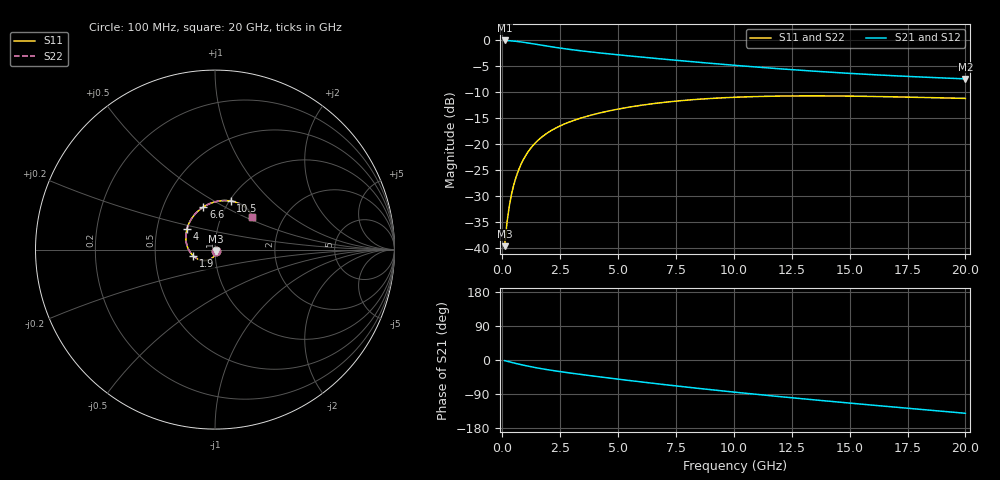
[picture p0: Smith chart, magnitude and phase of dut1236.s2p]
! Touchstone file exported from HFSS 2024.1.0
!  File:  C:/UserFiles/LocalFiles/RDL_TSV_Batchsim/temp_RDL_TSV_1236_1780266213.aedt
!  Generated:  06:38:08 AM Jun  1, 2026
!  Design:  RDL_TSV
!  Project:  temp_RDL_TSV_1236_1780266213
!  Setup:  Setup1
!  Solution:  Sweep
! Variables:
!  dtsv = 13.34um
!  hbump = 3um
!  htsv = 94.07um
!  ldown = 261.4um
!  lrdl = 201.21um
!  p = 40
!  p1 = 58.44um
!  rhole = 10um
!  subl = 1589.04um
!  t = 450um
!  tdown = 3.62um
!  trdl = 3.49um
!  viad = 10um
!  wdown = 29.61um
!  wrdl = 25.74um
!  xbump = 18um
# GHz S MA R 50.000000
! Terminal data exported
! Port[1] = TM1_1_T1
! Port[2] = TM1_4_T1
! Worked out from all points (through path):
!   200 points, 100 MHz to 20 GHz, reference 50 ohm
!   highest |S21| = -0.06 dB at 100 MHz (marker M1); lowest = -7.5 dB at 20 GHz (marker M2)
!   group delay of S21, straight-line fit = 18.2 ps
!   lowest |S11| = -39.7 dB at 100 MHz (marker M3), VSWR 1.02, Z = 50.6 - j0.848 ohm
!   |S11| at or under -10 dB: start of sweep to end of sweep
!   |S22| runs from -39.7 to -10.7 dB; largest |S21 - S12| = 1.4e-14
!   S11 on the Smith chart (normalised r, x): 100 MHz: 1.01, -0.02; 1.9 GHz: 0.78, -0.06; 4 GHz: 0.71, +0.17; 6.6 GHz: 0.79, +0.40; 10.5 GHz: 1.01, +0.60; 20 GHz: 1.39, +0.55
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0.1  0.01041 -53.6  0.9926 -1.6  0.9926 -1.6  0.01041 -53.6
! Gamma 0 0 0 0
! Port Impedance 50 0 50 0
0.2  0.01742 -74.9  0.9906 -3.2  0.9906 -3.2  0.01742 -75.0
0.3  0.02515 -86.6  0.9875 -4.8  0.9875 -4.8  0.02515 -86.6
0.4  0.03304 -94.9  0.9837 -6.3  0.9837 -6.3  0.03303 -95.0
0.5  0.04086 -101.9  0.979 -7.8  0.979 -7.8  0.04085 -101.9
0.7  0.05599 -113.6  0.9678 -10.7  0.9678 -10.7  0.05599 -113.6
0.9  0.07019 -123.7  0.9544 -13.5  0.9544 -13.5  0.07019 -123.7
1.2  0.08949 -137.2  0.932 -17.4  0.932 -17.4  0.08949 -137.3
1.5  0.1064 -149.3  0.9085 -20.9  0.9085 -20.9  0.1064 -149.3
1.9  0.1258 -163.5  0.8783 -25.1  0.8783 -25.1  0.1258 -163.6
2.6  0.1531 175.4  0.8318 -31.5  0.8318 -31.5  0.1532 175.4
3.5  0.1808 153.8  0.784 -39.0  0.784 -39.0  0.1809 153.7
4  0.194 143.7  0.7616 -42.9  0.7616 -42.9  0.1941 143.6
5.3  0.2231 122.1  0.7112 -52.8  0.7112 -52.8  0.2233 122.0
6.6  0.2462 105.3  0.6675 -62.1  0.6675 -62.1  0.2464 105.3
6.8  0.2492 103.0  0.6612 -63.6  0.6612 -63.6  0.2494 103.0
8.3  0.2681 88.3  0.617 -73.8  0.617 -73.8  0.2684 88.3
10.1  0.2824 74.6  0.5707 -85.3  0.5707 -85.3  0.2827 74.6
10.5  0.2845 72.1  0.5613 -87.8  0.5613 -87.8  0.2848 72.1
13.4  0.2908 57.3  0.5037 -104.8  0.5037 -104.8  0.2912 57.3
16.7  0.2852 46.8  0.4566 -123.0  0.4566 -123.0  0.2856 46.9
20  0.275 41.6  0.4239 -140.6  0.4239 -140.6  0.2753 41.7
